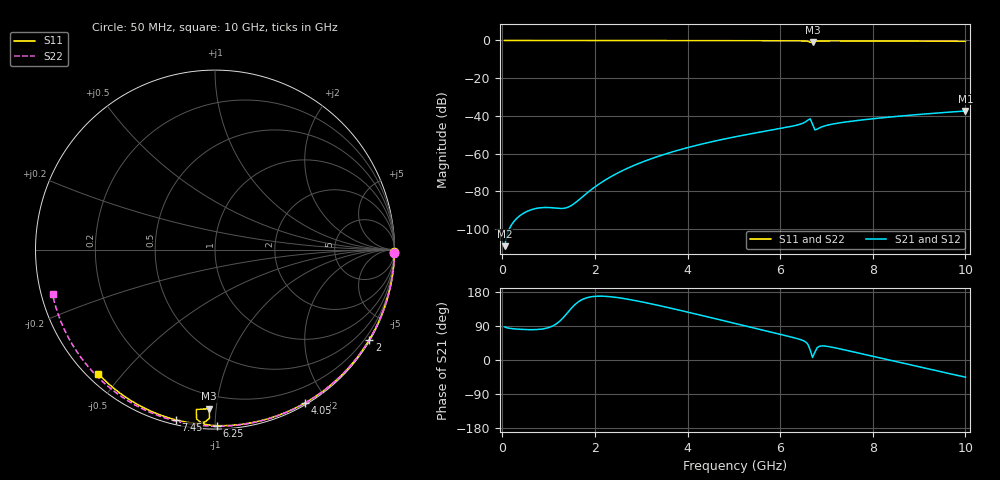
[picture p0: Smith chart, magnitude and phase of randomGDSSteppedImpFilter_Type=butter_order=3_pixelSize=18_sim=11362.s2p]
! freq	dB(S11)	phase(S11)	dB(S12)	phase(S12)
!  dB(S21)	phase(S21)	dB(S22)	phase(S22)
!S-par simulation data
#  GHz  S  DB  R 50
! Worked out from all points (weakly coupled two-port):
!   200 points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, 50 MHz to 10 GHz, reference 50 ohm
!   highest |S21| = -37.42 dB at 10 GHz (marker M1); lowest = -109.1 dB at 50 MHz (marker M2)
!   lowest |S11| = -1.0 dB at 6.7 GHz (marker M3), VSWR 16.68, Z = 5.77 - j47.9 ohm
!   |S11| at or under -10 dB: nowhere
!   |S22| runs from -0.5 to 0.0 dB; largest |S21 - S12| = 0
!   S11 on the Smith chart (normalised r, x): 50 MHz: open; 2 GHz: 0.03, -3.69; 4.05 GHz: 0.02, -1.74; 6.25 GHz: 0.02, -1.01; 7.45 GHz: 0.02, -0.79; 10 GHz: 0.03, -0.43
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0.05  -0.00 -0.8  -109.13 87.3  -109.13 87.3  -0.00 -1.0
0.85  -0.02 -13.0  -88.69 81.6  -88.69 81.6  -0.02 -16.1
1.75  -0.03 -26.6  -82.55 160.9  -82.55 160.9  -0.04 -32.8
1.9  -0.04 -28.8  -79.55 166.4  -79.55 166.4  -0.05 -35.6
2  -0.04 -30.3  -77.70 168.0  -77.70 168.0  -0.05 -37.4
2.3  -0.04 -34.8  -72.90 167.3  -72.90 167.3  -0.05 -42.8
2.6  -0.05 -39.1  -68.99 162.6  -68.99 162.6  -0.06 -48.2
3  -0.06 -44.9  -64.73 153.7  -64.73 153.7  -0.07 -55.3
3.4  -0.07 -50.7  -61.20 143.3  -61.20 143.3  -0.08 -62.2
4.05  -0.08 -59.8  -56.54 125.0  -56.54 125.0  -0.10 -73.2
5.05  -0.11 -73.4  -51.00 95.8  -51.00 95.8  -0.14 -89.5
6.25  -0.17 -89.5  -45.55 60.2  -45.55 60.2  -0.20 -108.3
6.45  -0.21 -92.6  -44.26 53.4  -44.26 53.4  -0.21 -111.3
6.55  -0.30 -94.8  -43.13 47.7  -43.13 47.7  -0.21 -112.8
6.65  -0.94 -96.7  -41.56 25.9  -41.56 25.9  -0.22 -114.4
6.7  -1.04 -92.1  -44.50 6.7  -44.50 6.7  -0.22 -115.1
6.75  -0.54 -91.9  -47.43 20.8  -47.43 20.8  -0.23 -115.9
7  -0.23 -97.0  -45.07 36.3  -45.07 36.3  -0.24 -119.6
7.45  -0.23 -103.0  -43.14 25.0  -43.14 25.0  -0.28 -126.3
8.35  -0.29 -114.0  -40.67 -0.1  -40.67 -0.1  -0.36 -139.7
9.2  -0.37 -123.9  -38.85 -23.6  -38.85 -23.6  -0.45 -152.4
10  -0.45 -133.2  -37.42 -45.2  -37.42 -45.2  -0.55 -164.6
